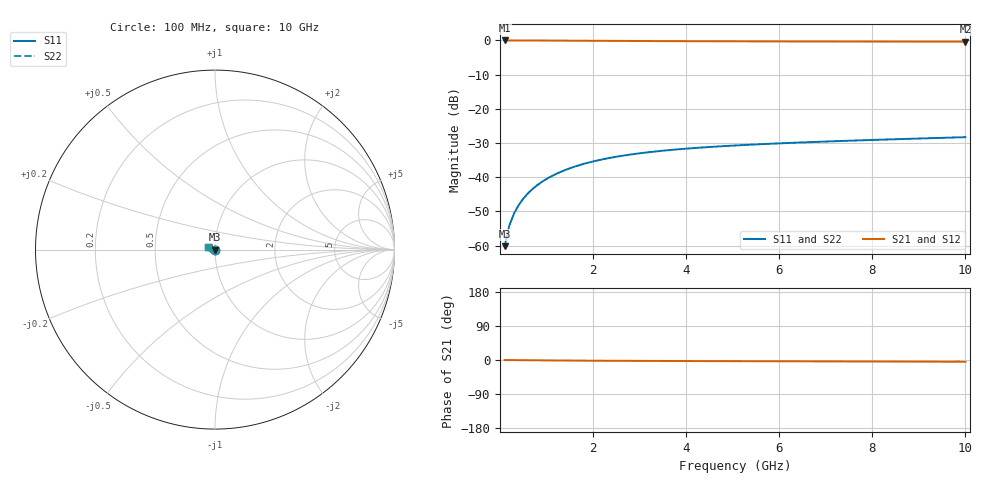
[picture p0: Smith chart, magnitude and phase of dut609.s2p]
! Touchstone file exported from HFSS 2024.1.0
!  File:  C:/UserFiles/LocalFiles/RDL_TSV_Batchsim/temp_TSV1_609_1779788118.aedt
!  Generated:  05:40:25 PM May 26, 2026
!  Design:  TSV1
!  Project:  temp_TSV1_609_1779788118
!  Setup:  Setup1
!  Solution:  Sweep
! Variables:
!  dtsv = 9.98um
!  hbump = 3um
!  htsv = 67.63um
!  lrdl = 252.1521522um
!  p = 40
!  p1 = 57.86um
!  t = 500um
!  trdl = 3um
!  wrdl = 24.89489489um
# GHz S MA R 50.000000
! Terminal data exported
! Port[1] = TSV22_T1
! Port[2] = TSV22_T2
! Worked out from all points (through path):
!   100 points, 100 MHz to 10 GHz, reference 50 ohm
!   highest |S21| = 0.00 dB at 100 MHz (marker M1); lowest = -0.3 dB at 10 GHz (marker M2)
!   lowest |S11| = -60.2 dB at 100 MHz (marker M3), VSWR 1.00, Z = 50 - j0.0976 ohm
!   |S11| at or under -10 dB: start of sweep to end of sweep
!   |S22| runs from -60.2 to -28.3 dB; largest |S21 - S12| = 6.8e-15
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0.1  0.0009808 -84.5  0.9998 -0.1  0.9998 -0.1  0.0009808 -84.5
! Gamma 0 0 0 0
! Port Impedance 50 0 50 0
0.2  0.00195 -90.2  0.9997 -0.2  0.9997 -0.2  0.00195 -90.2
0.3  0.002922 -93.6  0.9995 -0.3  0.9995 -0.3  0.002922 -93.6
0.4  0.003888 -96.3  0.9992 -0.4  0.9992 -0.4  0.003888 -96.3
0.5  0.004847 -98.8  0.9989 -0.5  0.9989 -0.5  0.004847 -98.8
0.6  0.005793 -101.2  0.9985 -0.6  0.9985 -0.6  0.005793 -101.2
0.7  0.006726 -103.4  0.9981 -0.7  0.9981 -0.7  0.006726 -103.4
0.8  0.007643 -105.6  0.9976 -0.8  0.9976 -0.8  0.007643 -105.6
0.9  0.008541 -107.8  0.997 -0.9  0.997 -0.9  0.008541 -107.8
1.1  0.01028 -112.0  0.9958 -1.1  0.9958 -1.1  0.01028 -112.0
1.4  0.01273 -117.9  0.9937 -1.4  0.9937 -1.4  0.01273 -117.9
1.6  0.01424 -121.6  0.9921 -1.5  0.9921 -1.5  0.01424 -121.6
1.8  0.01566 -125.2  0.9906 -1.7  0.9906 -1.7  0.01566 -125.2
2.1  0.01762 -130.3  0.9882 -1.9  0.9882 -1.9  0.01762 -130.3
2.5  0.01992 -136.6  0.9851 -2.1  0.9851 -2.1  0.01992 -136.6
2.9  0.02191 -142.4  0.9822 -2.3  0.9822 -2.3  0.02191 -142.4
3.4  0.02403 -148.9  0.9789 -2.5  0.9789 -2.5  0.02403 -148.9
4.2  0.02677 -158.0  0.9745 -2.8  0.9745 -2.8  0.02677 -158.0
5.1  0.02922 -166.6  0.9707 -3.1  0.9707 -3.1  0.02922 -166.6
6.7  0.03267 -179.2  0.966 -3.6  0.966 -3.6  0.03267 -179.2
8.4  0.03576 170.1  0.9628 -4.1  0.9628 -4.1  0.03576 170.1
10  0.03851 161.8  0.9608 -4.6  0.9608 -4.6  0.03851 161.8
